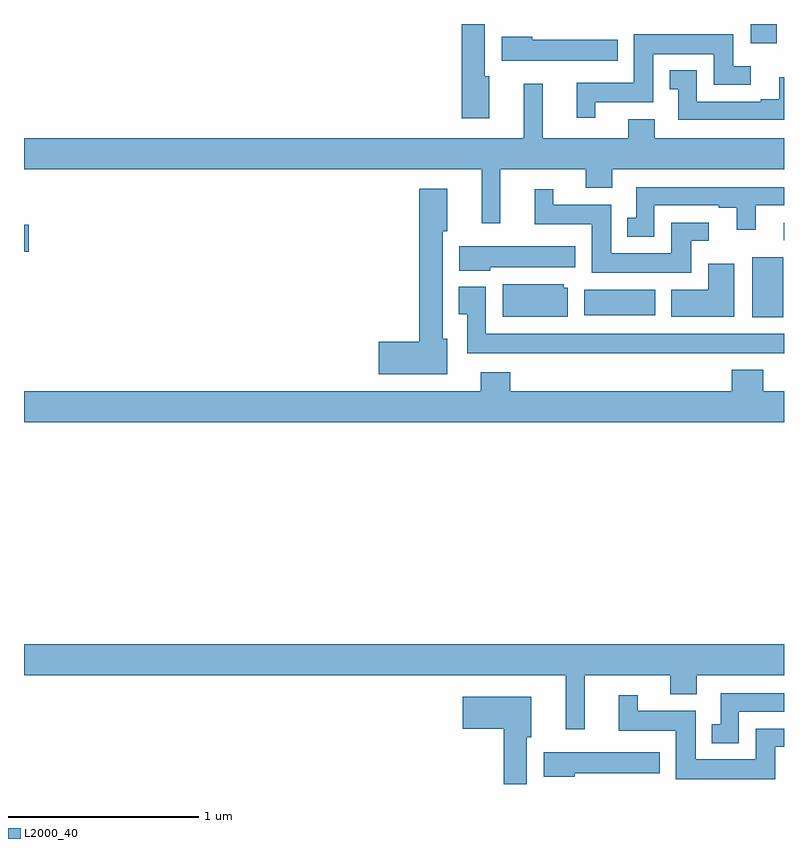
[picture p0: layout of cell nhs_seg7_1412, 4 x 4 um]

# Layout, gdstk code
import gdstk
lib = gdstk.Library(unit=1e-6, precision=1e-09)
def R(c, l, rs):  # rectangles x0, y0, x1, y1
    for r in rs: c.add(gdstk.rectangle(r[:2], r[2:], *l))
def P(c, l, *ps):  # polygons
    for p in ps: c.add(gdstk.Polygon(p, *l))
L2000_40 = (2000, 40)

nhs_seg7_1412 = lib.new_cell('nhs_seg7_1412')
R(nhs_seg7_1412, L2000_40, [(210.833,1046.456,210.997,1046.773), (209.949,1046.468,210.322,1046.602), (207,1046.801,207.025,1046.943), (210.999,1046.862,211,1046.955), (210.824,1047.9,210.961,1048)])
P(nhs_seg7_1412, L2000_40, [(209.449,1047.726),(209.425,1047.726),(209.425,1048),(209.303,1048),(209.303,1047.504),(209.449,1047.504)],
  [(210.007,1047.587),(210.313,1047.587),(210.313,1047.842),(210.629,1047.842),(210.629,1047.681),(210.826,1047.681),(210.826,1047.777),(210.733,1047.777),(210.733,1047.946),(210.209,1047.946),(210.209,1047.691),(209.909,1047.691),(209.909,1047.507),(210.007,1047.507)],
  [(210.124,1047.916),(209.676,1047.916),(209.676,1047.934),(209.514,1047.934),(209.514,1047.806),(210.124,1047.806)],
  [(211,1047.721),(210.974,1047.721),(210.974,1047.603),(210.878,1047.603),(210.878,1047.591),(210.54,1047.591),(210.54,1047.757),(210.398,1047.757),(210.398,1047.657),(210.444,1047.657),(210.444,1047.495),(211,1047.495)],
  [(209.507,1047.236),(209.957,1047.236),(209.957,1047.137),(210.097,1047.137),(210.097,1047.236),(211,1047.236),(211,1047.4),(210.319,1047.4),(210.319,1047.499),(210.179,1047.499),(210.179,1047.4),(209.729,1047.4),(209.729,1047.685),(209.63,1047.685),(209.63,1047.4),(207,1047.4),(207,1047.236),(209.408,1047.236),(209.408,1046.952),(209.507,1046.952)],
  [(210.318,1047.045),(210.656,1047.045),(210.656,1047.033),(210.752,1047.033),(210.752,1046.916),(210.85,1046.916),(210.85,1047.045),(211,1047.045),(211,1047.141),(210.222,1047.141),(210.222,1046.979),(210.176,1046.979),(210.176,1046.879),(210.318,1046.879)],
  [(209.227,1046.343),(209.203,1046.343),(209.203,1046.91),(209.227,1046.91),(209.227,1047.133),(209.081,1047.133),(209.081,1046.327),(208.866,1046.327),(208.866,1046.156),(209.227,1046.156)],
  [(210.511,1046.859),(210.604,1046.859),(210.604,1046.955),(210.407,1046.955),(210.407,1046.794),(210.091,1046.794),(210.091,1047.049),(209.785,1047.049),(209.785,1047.13),(209.687,1047.13),(209.687,1046.945),(209.987,1046.945),(209.987,1046.69),(210.511,1046.69)],
  [(209.454,1046.72),(209.902,1046.72),(209.902,1046.83),(209.292,1046.83),(209.292,1046.702),(209.454,1046.702)],
  [(210.739,1046.737),(210.602,1046.737),(210.602,1046.602),(210.407,1046.602),(210.407,1046.459),(210.739,1046.459)],
  [(209.863,1046.613),(209.841,1046.613),(209.841,1046.629),(209.519,1046.629),(209.519,1046.459),(209.863,1046.459)],
  [(211,1046.371),(209.43,1046.371),(209.43,1046.617),(209.288,1046.617),(209.288,1046.473),(209.333,1046.473),(209.333,1046.267),(211,1046.267)],
  [(211,1046.068),(210.89,1046.068),(210.89,1046.179),(210.725,1046.179),(210.725,1046.068),(209.558,1046.068),(209.558,1046.167),(209.405,1046.167),(209.405,1046.068),(207,1046.068),(207,1045.904),(211,1045.904)],
  [(209.951,1044.572),(210.401,1044.572),(210.401,1044.473),(210.541,1044.473),(210.541,1044.572),(211,1044.572),(211,1044.736),(207,1044.736),(207,1044.572),(209.852,1044.572),(209.852,1044.288),(209.951,1044.288)],
  [(210.762,1044.381),(211,1044.381),(211,1044.477),(210.666,1044.477),(210.666,1044.315),(210.62,1044.315),(210.62,1044.215),(210.762,1044.215)],
  [(210.955,1044.195),(211,1044.195),(211,1044.291),(210.851,1044.291),(210.851,1044.13),(210.535,1044.13),(210.535,1044.385),(210.229,1044.385),(210.229,1044.466),(210.131,1044.466),(210.131,1044.281),(210.431,1044.281),(210.431,1044.026),(210.955,1044.026)],
  [(209.647,1044.246),(209.671,1044.246),(209.671,1044.46),(209.31,1044.46),(209.31,1044.29),(209.525,1044.29),(209.525,1044),(209.647,1044)],
  [(209.898,1044.056),(210.346,1044.056),(210.346,1044.166),(209.736,1044.166),(209.736,1044.038),(209.898,1044.038)])

lib.write_gds('nhs_seg7_1412.gds')
